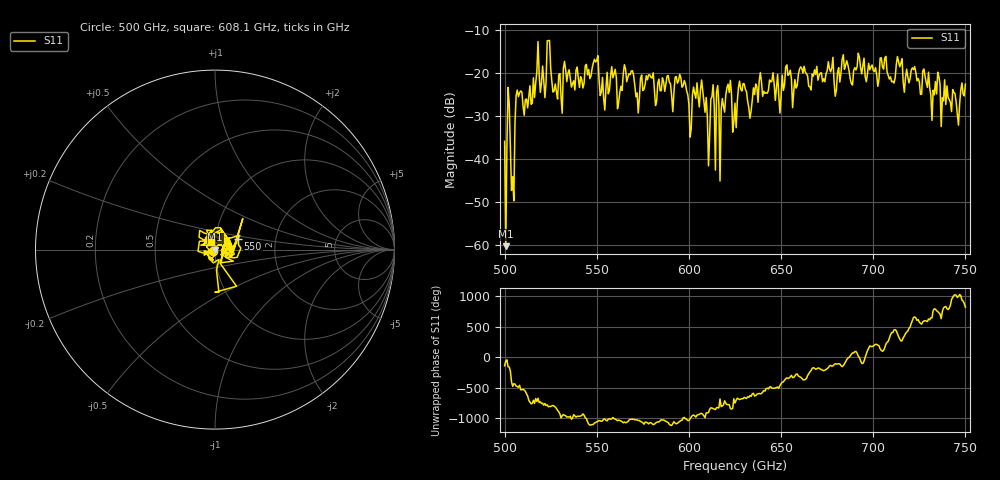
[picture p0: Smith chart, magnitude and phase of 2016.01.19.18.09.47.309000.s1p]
!Created with skrf (http://scikit-rf.org).
# GHz S RI R 50.0
!freq ReS11 ImS11
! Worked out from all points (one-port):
!   401 points, 500 GHz to 750 GHz, reference 50 ohm
!   lowest |S11| = -60.2 dB at 500.6 GHz (marker M1), VSWR 1.00, Z = 50 - j0.0868 ohm
!   |S11| at or under -10 dB: start of sweep to end of sweep
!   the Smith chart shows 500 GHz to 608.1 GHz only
!   S11 on the Smith chart (normalised r, x): 500 GHz: 0.98, -0.02; 550 GHz: 1.28, +0.15; 608.1 GHz: 0.95, +0.08
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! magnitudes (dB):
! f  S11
! 500 GHz  -35.9
! 500.6 GHz  -60.2
! 502.5 GHz  -27.2
! 504.4 GHz  -44.1
! 507.5 GHz  -25.5
! 520.6 GHz  -18.4
! 523.8 GHz  -12.5
! 527.5 GHz  -22.5
! 531.2 GHz  -29.3
! 550 GHz  -17.0
! 553.1 GHz  -21.0
! 558.8 GHz  -21.1
! 562.5 GHz  -24.5
! 565.6 GHz  -19.1
! 571.9 GHz  -24.6
! 593.8 GHz  -22.4
! 600.6 GHz  -34.9
! 608.1 GHz  -26.3
! 610 GHz  -30.3
! 618.1 GHz  -25.9
! 621.2 GHz  -22.6
! 625 GHz  -27.0
! 628.8 GHz  -24.2
! 633.1 GHz  -30.5
! 656.2 GHz  -28.0
! 687.5 GHz  -21.4
! 718.8 GHz  -20.9
! 750 GHz  -22.6
